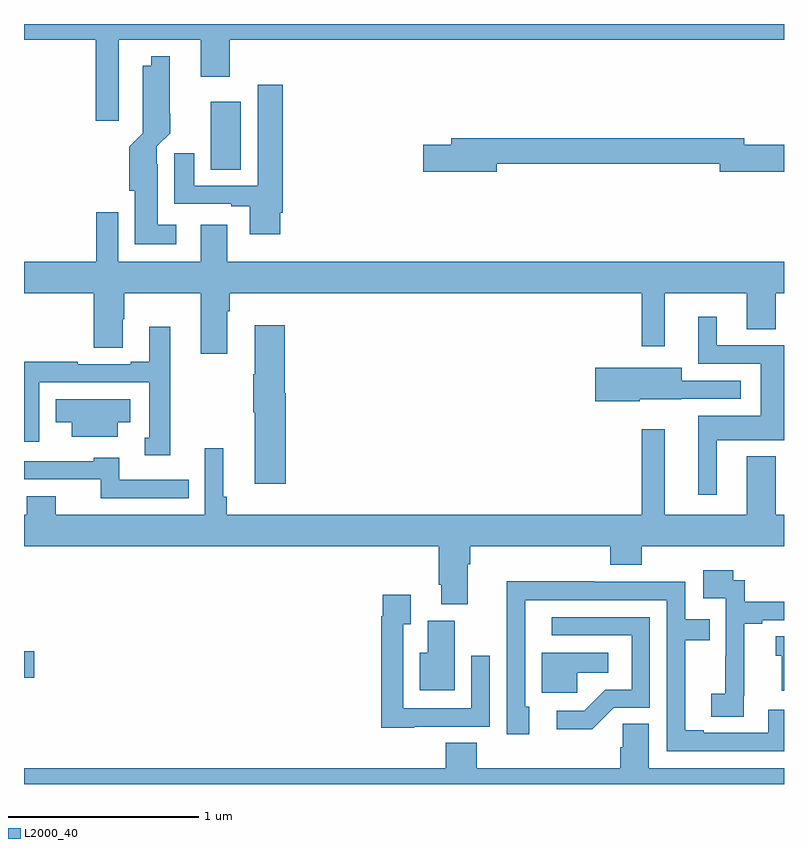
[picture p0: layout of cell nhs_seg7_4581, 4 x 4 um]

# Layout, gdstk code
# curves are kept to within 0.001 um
import gdstk
lib = gdstk.Library(unit=1e-6, precision=1e-09)
def R(c, l, rs):  # rectangles x0, y0, x1, y1
    for r in rs: c.add(gdstk.rectangle(r[:2], r[2:], *l))
def P(c, l, *ps):  # polygons
    for p in ps: c.add(gdstk.Polygon(p, *l))
L2000_40 = (2000, 40)

nhs_seg7_4581 = lib.new_cell('nhs_seg7_4581')
R(nhs_seg7_4581, L2000_40, [(399,1030.558,399.055,1030.7), (399.983,1033.234,400.141,1033.591)])
P(nhs_seg7_4581, L2000_40, [(399.499,1033.916),(399.929,1033.916),(399.929,1033.722),(400.082,1033.722),(400.082,1033.916),(403,1033.916),(403,1034),(399,1034),(399,1033.916),(399.377,1033.916),(399.377,1033.491),(399.499,1033.491)],
  [(399.802,1032.943),(399.703,1032.943),(399.703,1033.262),(399.699,1033.262),(399.699,1033.356),(399.769,1033.426),(399.768,1033.831),(399.671,1033.831),(399.671,1033.78),(399.626,1033.78),(399.626,1033.426),(399.554,1033.354),(399.554,1033.122),(399.584,1033.122),(399.584,1032.842),(399.802,1032.842)],
  [(400.348,1033.006),(400.361,1033.006),(400.361,1033.68),(400.229,1033.68),(400.229,1033.149),(399.895,1033.149),(399.895,1033.321),(399.791,1033.321),(399.791,1033.053),(400.091,1033.053),(400.091,1033.041),(400.187,1033.041),(400.187,1032.894),(400.348,1032.894)],
  [(401.488,1033.264),(402.662,1033.264),(402.662,1033.222),(403,1033.222),(403,1033.364),(402.79,1033.364),(402.79,1033.4),(401.249,1033.4),(401.249,1033.364),(401.1,1033.364),(401.1,1033.222),(401.488,1033.222)],
  [(400.069,1032.488),(400.082,1032.488),(400.082,1032.584),(402.252,1032.584),(402.252,1032.303),(402.373,1032.303),(402.373,1032.584),(402.803,1032.584),(402.803,1032.394),(402.956,1032.394),(402.956,1032.584),(403,1032.584),(403,1032.748),(400.069,1032.748),(400.069,1032.943),(399.929,1032.943),(399.929,1032.748),(399.495,1032.748),(399.495,1033.009),(399.379,1033.009),(399.379,1032.748),(399,1032.748),(399,1032.584),(399.368,1032.584),(399.368,1032.295),(399.52,1032.295),(399.52,1032.446),(399.528,1032.446),(399.528,1032.584),(399.929,1032.584),(399.929,1032.264),(400.069,1032.264)],
  [(402.646,1031.81),(403,1031.81),(403,1032.309),(402.646,1032.309),(402.646,1032.46),(402.548,1032.46),(402.548,1032.213),(402.878,1032.213),(402.878,1031.938),(402.548,1031.938),(402.548,1031.523),(402.646,1031.523)],
  [(400.378,1032.057),(400.373,1032.057),(400.373,1032.415),(400.214,1032.415),(400.214,1032.157),(400.207,1032.157),(400.207,1031.957),(400.214,1031.957),(400.214,1031.58),(400.378,1031.58)],
  [(399.769,1032.406),(399.659,1032.406),(399.659,1032.223),(399.563,1032.223),(399.563,1032.21),(399.284,1032.21),(399.284,1032.223),(399,1032.223),(399,1031.802),(399.081,1031.802),(399.081,1032.114),(399.66,1032.114),(399.66,1031.823),(399.635,1031.823),(399.635,1031.729),(399.769,1031.729)],
  [(402.24,1032.026),(402.459,1032.026),(402.459,1032.027),(402.772,1032.027),(402.772,1032.123),(402.463,1032.123),(402.463,1032.192),(402.006,1032.192),(402.006,1032.014),(402.24,1032.014)],
  [(399.493,1031.903),(399.559,1031.903),(399.559,1032.025),(399.166,1032.025),(399.166,1031.903),(399.251,1031.903),(399.251,1031.828),(399.493,1031.828)],
  [(401.335,1031.156),(401.348,1031.156),(401.348,1031.252),(402.086,1031.252),(402.086,1031.153),(402.251,1031.153),(402.251,1031.252),(403,1031.252),(403,1031.416),(402.956,1031.416),(402.956,1031.725),(402.803,1031.725),(402.803,1031.416),(402.373,1031.416),(402.373,1031.866),(402.252,1031.866),(402.252,1031.416),(400.067,1031.416),(400.067,1031.512),(400.048,1031.512),(400.048,1031.767),(399.951,1031.767),(399.951,1031.416),(399.166,1031.416),(399.166,1031.515),(399.014,1031.515),(399.014,1031.416),(399,1031.416),(399,1031.252),(401.183,1031.252),(401.183,1031.05),(401.195,1031.05),(401.195,1030.945),(401.335,1030.945)],
  [(399.866,1031.601),(399.502,1031.601),(399.502,1031.716),(399.366,1031.716),(399.366,1031.7),(399,1031.7),(399,1031.604),(399.403,1031.604),(399.403,1031.505),(399.866,1031.505)],
  [(402.788,1030.465),(402.79,1030.465),(402.79,1030.843),(402.886,1030.843),(402.886,1030.863),(403,1030.863),(403,1030.959),(402.794,1030.959),(402.794,1031.073),(402.732,1031.073),(402.732,1031.125),(402.576,1031.125),(402.576,1030.977),(402.693,1030.977),(402.693,1030.673),(402.692,1030.673),(402.692,1030.476),(402.618,1030.476),(402.618,1030.354),(402.788,1030.354)],
  [(403,1030.392),(402.918,1030.392),(402.918,1030.269),(402.577,1030.269),(402.577,1030.284),(402.481,1030.284),(402.481,1030.757),(402.608,1030.757),(402.608,1030.866),(402.48,1030.866),(402.48,1031.064),(402.002,1031.064),(402.002,1031.066),(401.54,1031.066),(401.54,1030.762),(401.541,1030.762),(401.541,1030.263),(401.659,1030.263),(401.659,1030.407),(401.637,1030.407),(401.637,1030.968),(402.384,1030.968),(402.384,1030.173),(403,1030.173)],
  [(401.055,1030.302),(401.451,1030.302),(401.451,1030.675),(401.355,1030.675),(401.355,1030.398),(400.995,1030.398),(400.995,1030.84),(401.035,1030.84),(401.035,1030.996),(400.887,1030.996),(400.887,1030.883),(400.879,1030.883),(400.879,1030.295),(401.055,1030.295)],
  [(402.105,1030.401),(402.294,1030.401),(402.294,1030.878),(401.778,1030.878),(401.778,1030.782),(402.198,1030.782),(402.198,1030.497),(402.06,1030.497),(401.949,1030.386),(401.805,1030.386),(401.805,1030.289),(401.992,1030.289)],
  [(401.266,1030.86),(401.126,1030.86),(401.126,1030.69),(401.084,1030.69),(401.084,1030.493),(401.266,1030.493)],
  [(403,1030.778),(402.956,1030.778),(402.956,1030.675),(402.989,1030.675),(402.989,1030.491),(403,1030.491)],
  [(401.913,1030.586),(402.076,1030.586),(402.076,1030.69),(401.726,1030.69),(401.726,1030.479),(401.913,1030.479)],
  [(403,1030.084),(402.289,1030.084),(402.289,1030.316),(402.15,1030.316),(402.15,1030.193),(402.137,1030.193),(402.137,1030.084),(401.384,1030.084),(401.384,1030.217),(401.219,1030.217),(401.219,1030.084),(399,1030.084),(399,1030),(403,1030)])

lib.write_gds('nhs_seg7_4581.gds')
